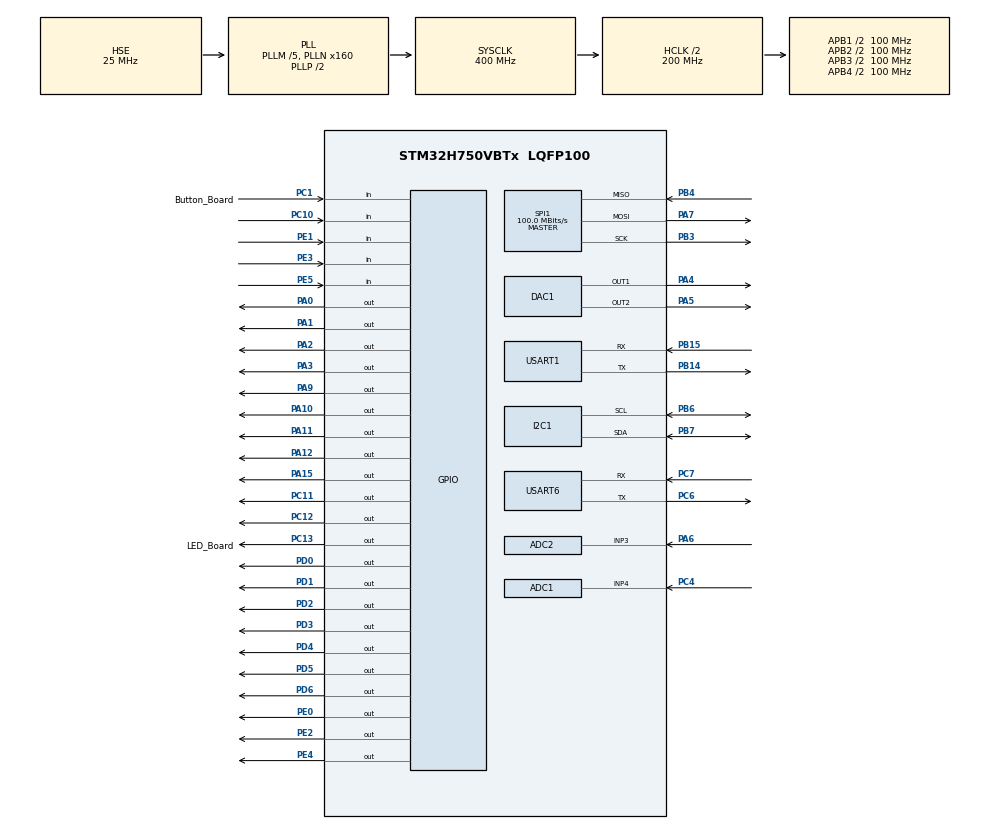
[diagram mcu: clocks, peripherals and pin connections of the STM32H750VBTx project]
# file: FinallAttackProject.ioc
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ADC1.Channel-0\#ChannelRegularConversion=ADC_CHANNEL_4
ADC1.ClockPrescaler=ADC_CLOCK_ASYNC_DIV1
ADC1.ContinuousConvMode=DISABLE
ADC1.ConversionDataManagement=ADC_CONVERSIONDATA_DMA_CIRCULAR
ADC1.DMAAccessModeView=ENABLE
ADC1.ExternalTrigConv=ADC_EXTERNALTRIG_T3_TRGO
ADC1.Mode=ADC_DUALMODE_REGSIMULT
ADC1.NbrOfConversionFlag=1
ADC1.OffsetNumber-0\#ChannelRegularConversion=ADC_OFFSET_NONE
ADC1.OffsetSignedSaturation-0\#ChannelRegularConversion=DISABLE
ADC1.Rank-0\#ChannelRegularConversion=1
ADC1.Resolution=ADC_RESOLUTION_14B
ADC1.SamplingTime-0\#ChannelRegularConversion=ADC_SAMPLETIME_1CYCLE_5
ADC1.master=1
ADC2.Channel-0\#ChannelRegularConversion=ADC_CHANNEL_3
ADC2.ConversionDataManagement=ADC_CONVERSIONDATA_DR
ADC2.DMAAccessModeView=ENABLE
ADC2.Mode=ADC_DUALMODE_REGSIMULT
ADC2.NbrOfConversionFlag=1
ADC2.OffsetNumber-0\#ChannelRegularConversion=ADC_OFFSET_NONE
ADC2.OffsetSignedSaturation-0\#ChannelRegularConversion=DISABLE
ADC2.Rank-0\#ChannelRegularConversion=1
ADC2.Resolution=ADC_RESOLUTION_14B
ADC2.SamplingTime-0\#ChannelRegularConversion=ADC_SAMPLETIME_1CYCLE_5
CORTEX_M7.CPU_DCache=Enabled
CORTEX_M7.default_mode_Activation=1
DAC1.DAC_Channel-DAC_OUT1=DAC_CHANNEL_1
DAC1.DAC_Channel-DAC_OUT2=DAC_CHANNEL_2
DAC1.DAC_Trigger-DAC_OUT1=DAC_TRIGGER_T4_TRGO
DAC1.DAC_Trigger-DAC_OUT2=DAC_TRIGGER_SOFTWARE
DAC1.DAC_UserTrimming-DAC_OUT2=DAC_TRIMMING_FACTORY
Dma.ADC1.0.Direction=DMA_PERIPH_TO_MEMORY
Dma.ADC1.0.EventEnable=DISABLE
Dma.ADC1.0.FIFOMode=DMA_FIFOMODE_DISABLE
Dma.ADC1.0.Instance=DMA1_Stream0
Dma.ADC1.0.MemDataAlignment=DMA_MDATAALIGN_WORD
Dma.ADC1.0.MemInc=DMA_MINC_ENABLE
Dma.ADC1.0.Mode=DMA_CIRCULAR
Dma.ADC1.0.PeriphDataAlignment=DMA_PDATAALIGN_WORD
Dma.ADC1.0.PeriphInc=DMA_PINC_DISABLE
Dma.ADC1.0.Polarity=HAL_DMAMUX_REQ_GEN_RISING
Dma.ADC1.0.Priority=DMA_PRIORITY_LOW
Dma.ADC1.0.RequestNumber=1
Dma.ADC1.0.SignalID=NONE
Dma.ADC1.0.SyncEnable=DISABLE
Dma.ADC1.0.SyncPolarity=HAL_DMAMUX_SYNC_NO_EVENT
Dma.ADC1.0.SyncRequestNumber=1
Dma.ADC1.0.SyncSignalID=NONE
Dma.DAC1_CH1.1.Direction=DMA_MEMORY_TO_PERIPH
Dma.DAC1_CH1.1.EventEnable=DISABLE
Dma.DAC1_CH1.1.FIFOMode=DMA_FIFOMODE_DISABLE
Dma.DAC1_CH1.1.Instance=DMA1_Stream1
Dma.DAC1_CH1.1.MemDataAlignment=DMA_MDATAALIGN_HALFWORD
Dma.DAC1_CH1.1.MemInc=DMA_MINC_ENABLE
Dma.DAC1_CH1.1.Mode=DMA_CIRCULAR
Dma.DAC1_CH1.1.PeriphDataAlignment=DMA_PDATAALIGN_HALFWORD
Dma.DAC1_CH1.1.PeriphInc=DMA_PINC_DISABLE
Dma.DAC1_CH1.1.Polarity=HAL_DMAMUX_REQ_GEN_RISING
Dma.DAC1_CH1.1.Priority=DMA_PRIORITY_HIGH
Dma.DAC1_CH1.1.RequestNumber=1
Dma.DAC1_CH1.1.SignalID=NONE
Dma.DAC1_CH1.1.SyncEnable=DISABLE
Dma.DAC1_CH1.1.SyncPolarity=HAL_DMAMUX_SYNC_NO_EVENT
Dma.DAC1_CH1.1.SyncRequestNumber=1
Dma.DAC1_CH1.1.SyncSignalID=NONE
Dma.Request0=ADC1
Dma.Request1=DAC1_CH1
FREERTOS.Tasks01=defaultTask,24,128,StartDefaultTask,Default,NULL,Dynamic,NULL,NULL
I2C1.Timing=0x10C0ECFF
Mcu.Family=STM32H7
Mcu.Name=STM32H750VBTx
Mcu.Package=LQFP100
NVIC.DMA1_Stream0_IRQn=true\:5\:0\:false\:false\:true\:true\:false\:true\:true
NVIC.DMA1_Stream1_IRQn=true\:5\:0\:false\:false\:true\:true\:false\:true\:true
NVIC.PriorityGroup=NVIC_PRIORITYGROUP_4
NVIC.TIM1_UP_IRQn=true\:15\:0\:false\:false\:true\:false\:false\:true\:true
NVIC.TIM6_DAC_IRQn=true\:5\:0\:false\:false\:true\:true\:true\:true\:true
NVIC.TimeBase=TIM1_UP_IRQn
NVIC.TimeBaseIP=TIM1
NVIC.USART1_IRQn=true\:5\:0\:false\:false\:true\:true\:true\:true\:true
NVIC.USART6_IRQn=true\:5\:0\:false\:false\:true\:true\:true\:true\:true
PA0.Signal=GPIO_Output
PA1.Signal=GPIO_Output
PA10.Signal=GPIO_Output
PA11.Signal=GPIO_Output
PA12.Signal=GPIO_Output
PA15\ (JTDI).Signal=GPIO_Output
PA2.Signal=GPIO_Output
PA3.Signal=GPIO_Output
PA4.Signal=COMP_DAC11_group
PA5.Signal=COMP_DAC12_group
PA6.Signal=ADCx_INP3
PA7.Mode=Full_Duplex_Master
PA7.Signal=SPI1_MOSI
PA9.Signal=GPIO_Output
PB14.Mode=Asynchronous
PB14.Signal=USART1_TX
PB15.Mode=Asynchronous
PB15.Signal=USART1_RX
PB3\ (JTDO/TRACESWO).Mode=Full_Duplex_Master
PB3\ (JTDO/TRACESWO).Signal=SPI1_SCK
PB4\ (NJTRST).Mode=Full_Duplex_Master
PB4\ (NJTRST).Signal=SPI1_MISO
PB6.Mode=I2C
PB6.Signal=I2C1_SCL
PB7.Mode=I2C
PB7.Signal=I2C1_SDA
PC1.GPIO_Label=Button_Board
PC1.GPIO_PuPd=GPIO_PULLUP
PC1.Signal=GPIO_Input
PC10.Signal=GPIO_Input
PC11.Signal=GPIO_Output
PC12.Signal=GPIO_Output
PC13.GPIO_Label=LED_Board
PC13.Signal=GPIO_Output
PC14-OSC32_IN\ (OSC32_IN).Mode=LSE-External-Oscillator
PC14-OSC32_IN\ (OSC32_IN).Signal=RCC_OSC32_IN
PC15-OSC32_OUT\ (OSC32_OUT).Mode=LSE-External-Oscillator
PC15-OSC32_OUT\ (OSC32_OUT).Signal=RCC_OSC32_OUT
PC4.Signal=ADCx_INP4
PC6.Mode=Asynchronous
PC6.Signal=USART6_TX
PC7.Mode=Asynchronous
PC7.Signal=USART6_RX
PD0.Signal=GPIO_Output
PD1.Signal=GPIO_Output
PD2.Signal=GPIO_Output
PD3.Signal=GPIO_Output
PD4.Signal=GPIO_Output
PD5.Signal=GPIO_Output
PD6.Signal=GPIO_Output
PE0.Signal=GPIO_Output
PE1.GPIO_PuPd=GPIO_PULLUP
PE1.Signal=GPIO_Input
PE2.Signal=GPIO_Output
PE3.GPIO_PuPd=GPIO_PULLUP
PE3.Signal=GPIO_Input
PE4.Signal=GPIO_Output
PE5.GPIO_PuPd=GPIO_PULLUP
PE5.Signal=GPIO_Input
PH0-OSC_IN\ (PH0).Mode=HSE-External-Oscillator
PH0-OSC_IN\ (PH0).Signal=RCC_OSC_IN
PH1-OSC_OUT\ (PH1).Mode=HSE-External-Oscillator
PH1-OSC_OUT\ (PH1).Signal=RCC_OSC_OUT
ProjectManager.HeapSize=0x200
ProjectManager.StackSize=0x400
ProjectManager.TargetToolchain=MDK-ARM V5.32
RCC.ADCFreq_Value=80000000
RCC.APB1Freq_Value=100000000
RCC.APB2Freq_Value=100000000
RCC.APB3Freq_Value=100000000
RCC.APB4Freq_Value=100000000
RCC.CortexFreq_Value=400000000
RCC.D1PPRE=RCC_APB3_DIV2
RCC.D2PPRE1=RCC_APB1_DIV2
RCC.D2PPRE2=RCC_APB2_DIV2
RCC.D3PPRE=RCC_APB4_DIV2
RCC.DIVM1=5
RCC.DIVM2=5
RCC.DIVM3=5
RCC.DIVN1=160
RCC.DIVN2=32
RCC.DIVN3=160
RCC.DIVP3=4
RCC.DIVQ1=4
RCC.DIVQ2=4
RCC.DIVQ3=4
RCC.HCLKFreq_Value=200000000
RCC.HPRE=RCC_HCLK_DIV2
RCC.PLL2FRACN=0
RCC.PLLFRACN=0
RCC.PLLSourceVirtual=RCC_PLLSOURCE_HSE
RCC.SPI123CLockSelection=RCC_SPI123CLKSOURCE_PLL3
RCC.SYSCLKFreq_VALUE=400000000
RCC.SYSCLKSource=RCC_SYSCLKSOURCE_PLLCLK
RCC.USBFreq_Value=200000000
SH.ADCx_INP3.0=ADC2_INP3,IN3-Single-Ended
SH.ADCx_INP4.0=ADC1_INP4,IN4-Single-Ended
SH.COMP_DAC11_group.0=DAC1_OUT1,DAC_OUT1
SH.COMP_DAC12_group.0=DAC1_OUT2,DAC_OUT2
SPI1.BaudRatePrescaler=SPI_BAUDRATEPRESCALER_2
SPI1.CalculateBaudRate=100.0 MBits/s
SPI1.Direction=SPI_DIRECTION_2LINES
SPI1.Mode=SPI_MODE_MASTER
SPI1.VirtualType=VM_MASTER
TIM3.AutoReloadPreload=TIM_AUTORELOAD_PRELOAD_ENABLE
TIM3.Period=488-1
TIM3.Prescaler=1-1
TIM3.TIM_MasterOutputTrigger=TIM_TRGO_UPDATE
TIM4.AutoReloadPreload=TIM_AUTORELOAD_PRELOAD_ENABLE
TIM4.Period=200
TIM4.Prescaler=1-1
TIM4.TIM_MasterOutputTrigger=TIM_TRGO_UPDATE
TIM6.AutoReloadPreload=TIM_AUTORELOAD_PRELOAD_ENABLE
TIM6.Period=20000
TIM6.Prescaler=2000
USART1.VirtualMode-Asynchronous=VM_ASYNC
USART6.VirtualMode=VM_ASYNC
VP_FREERTOS_VS_CMSIS_V2.Mode=CMSIS_V2
VP_MEMORYMAP_VS_MEMORYMAP.Mode=CurAppReg
VP_SYS_VS_tim1.Mode=TIM1
VP_TIM3_VS_ClockSourceINT.Mode=Internal
VP_TIM4_VS_ClockSourceINT.Mode=Internal
VP_TIM6_VS_ClockSourceINT.Mode=Enable_Timer
board=custom

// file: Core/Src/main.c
/* USER CODE BEGIN Header */
/**
  ******************************************************************************
  * @file           : main.c
  * @brief          : Main program body
  ******************************************************************************
  * @attention
  *
  * Copyright (c) 2025 STMicroelectronics.
  * All rights reserved.
  *
  * This software is licensed under terms that can be found in the LICENSE file
  * in the root directory of this software component.
  * If no LICENSE file comes with this software, it is provided AS-IS.
  *
  ******************************************************************************
  */
/* USER CODE END Header */
#include "main.h"
#include "cmsis_os.h"

/* USER CODE BEGIN Includes */
#include "stdio.h"
#include "math.h"

#include "AD9954.h"
#include "INA226.h"
#include "arm_math.h"
#include "my_uart_task.h"
#include "my_adc_task.h"
#include "my_zlcr_config.h"
#include "my_button_task.h"
#include "my_parser.h"

/* USER CODE END Includes */

ADC_HandleTypeDef hadc1;
ADC_HandleTypeDef hadc2;
DMA_HandleTypeDef hdma_adc1;

DAC_HandleTypeDef hdac1;
DMA_HandleTypeDef hdma_dac1_ch1;

I2C_HandleTypeDef hi2c1;

SPI_HandleTypeDef hspi1;

TIM_HandleTypeDef htim3;
TIM_HandleTypeDef htim4;
TIM_HandleTypeDef htim6;

UART_HandleTypeDef huart1;
UART_HandleTypeDef huart6;

/* Definitions for defaultTask */
osThreadId_t defaultTaskHandle;
const osThreadAttr_t defaultTask_attributes = {
  .name = "defaultTask",
  .stack_size = 128 * 4,
  .priority = (osPriority_t) osPriorityNormal,
};
/* USER CODE BEGIN PV */
osThreadId_t ADCProcessingTaskHandle;
const osThreadAttr_t ADCProcessingTask_attributes = {
  .name = "ADCProcessingTask",
  .stack_size = 128 * 16,
  .priority = (osPriority_t) osPriorityHigh,
};

osThreadId_t UARTProcessingTaskHandle;
const osThreadAttr_t UARTProcessingTask_attributes = {
  .name = "UARTProcessingTask",
  .stack_size = 128 * 8,
  .priority = (osPriority_t) osPriorityNormal,
};

osThreadId_t ButtonProcessingTaskHandle;
const osThreadAttr_t ButtonProcessingTask_attributes = {
  .name = "ButtonProcessingTask",
  .stack_size = 128 * 8,
  .priority = (osPriority_t) osPriorityNormal,
};

osThreadId_t myParserTaskHandle;
const osThreadAttr_t myParserTask_attributes = {
  .name = "myParserTask",
  .stack_size = 128 * 8,
  .priority = (osPriority_t) osPriorityHigh,
};

/* USER CODE END PV */

void SystemClock_Config(void);
void PeriphCommonClock_Config(void);
static void MPU_Config(void);
static void MX_GPIO_Init(void);
static void MX_DMA_Init(void);
static void MX_ADC1_Init(void);
static void MX_I2C1_Init(void);
static void MX_USART1_UART_Init(void);
static void MX_SPI1_Init(void);
static void MX_ADC2_Init(void);
static void MX_TIM3_Init(void);
static void MX_DAC1_Init(void);
static void MX_TIM4_Init(void);
static void MX_USART6_UART_Init(void);
static void MX_TIM6_Init(void);
void StartDefaultTask(void *argument);

/* USER CODE BEGIN PFP */
void StartADCProcessingTask(void *argument);
void StartDACProcessingTask(void *argument);
/* USER CODE END PFP */

/* USER CODE BEGIN 0 */

int fputc(int ch, FILE *f)
{
  HAL_UART_Transmit(&huart1, (uint8_t *)&ch, 1, 0xffff);
  return ch;
}
int fgetc(FILE * f)
{
  uint8_t ch = 0;
  HAL_UART_Receive(&huart1,&ch, 1, 0xffff);
  return ch;
}

/* USER CODE END 0 */

int main(void)
{

  /* MPU Configuration--------------------------------------------------------*/
  MPU_Config();

  /* Enable D-Cache---------------------------------------------------------*/
  SCB_EnableDCache();

  /* MCU Configuration--------------------------------------------------------*/

  /* Reset of all peripherals, Initializes the Flash interface and the Systick. */
  HAL_Init();

  /* Configure the system clock */
  SystemClock_Config();

  /* Configure the peripherals common clocks */
  PeriphCommonClock_Config();

  /* Initialize all configured peripherals */
  MX_GPIO_Init();
  MX_DMA_Init();
  MX_ADC1_Init();
  MX_I2C1_Init();
  MX_USART1_UART_Init();
  MX_SPI1_Init();
  MX_ADC2_Init();
  MX_TIM3_Init();
  MX_DAC1_Init();
  MX_TIM4_Init();
  MX_USART6_UART_Init();
  MX_TIM6_Init();

  /* Init scheduler */
  osKernelInitialize();

  /* Create the thread(s) */
  /* creation of defaultTask */
  defaultTaskHandle = osThreadNew(StartDefaultTask, NULL, &defaultTask_attributes);

  /* USER CODE BEGIN RTOS_THREADS */
  /* add threads, ... */
  ADCProcessingTaskHandle = osThreadNew(StartADCProcessingTask, NULL, &ADCProcessingTask_attributes);

  UARTProcessingTaskHandle = osThreadNew(StartUARTProcessingTask, NULL, &UARTProcessingTask_attributes);
  // ButtonProcessingTaskHandle = osThreadNew(StartButtonProcessingTask, NULL, &ButtonProcessingTask_attributes);
  myParserTaskHandle = osThreadNew(myParserTask, NULL, &myParserTask_attributes);
  /* USER CODE END RTOS_THREADS */

  /* Start scheduler */
  osKernelStart();

  /* We should never get here as control is now taken by the scheduler */

  /* Infinite loop */
  while (1)
  {

  }
}

void SystemClock_Config(void)
{
  RCC_OscInitTypeDef RCC_OscInitStruct = {0};
  RCC_ClkInitTypeDef RCC_ClkInitStruct = {0};

  /** Supply configuration update enable
  */
  HAL_PWREx_ConfigSupply(PWR_LDO_SUPPLY);

  /** Configure the main internal regulator output voltage
  */
  __HAL_PWR_VOLTAGESCALING_CONFIG(PWR_REGULATOR_VOLTAGE_SCALE1);

  while(!__HAL_PWR_GET_FLAG(PWR_FLAG_VOSRDY)) {}

  /** Initializes the RCC Oscillators according to the specified parameters
  * in the RCC_OscInitTypeDef structure.
  */
  RCC_OscInitStruct.OscillatorType = RCC_OSCILLATORTYPE_HSE;
  RCC_OscInitStruct.HSEState = RCC_HSE_ON;
  RCC_OscInitStruct.PLL.PLLState = RCC_PLL_ON;
  RCC_OscInitStruct.PLL.PLLSource = RCC_PLLSOURCE_HSE;
  RCC_OscInitStruct.PLL.PLLM = 5;
  RCC_OscInitStruct.PLL.PLLN = 160;
  RCC_OscInitStruct.PLL.PLLP = 2;
  RCC_OscInitStruct.PLL.PLLQ = 4;
  RCC_OscInitStruct.PLL.PLLR = 2;
  RCC_OscInitStruct.PLL.PLLRGE = RCC_PLL1VCIRANGE_2;
  RCC_OscInitStruct.PLL.PLLVCOSEL = RCC_PLL1VCOWIDE;
  RCC_OscInitStruct.PLL.PLLFRACN = 0;
  if (HAL_RCC_OscConfig(&RCC_OscInitStruct) != HAL_OK)
  {
    Error_Handler();
  }

  /** Initializes the CPU, AHB and APB buses clocks
  */
  RCC_ClkInitStruct.ClockType = RCC_CLOCKTYPE_HCLK|RCC_CLOCKTYPE_SYSCLK
                              |RCC_CLOCKTYPE_PCLK1|RCC_CLOCKTYPE_PCLK2
                              |RCC_CLOCKTYPE_D3PCLK1|RCC_CLOCKTYPE_D1PCLK1;
  RCC_ClkInitStruct.SYSCLKSource = RCC_SYSCLKSOURCE_PLLCLK;
  RCC_ClkInitStruct.SYSCLKDivider = RCC_SYSCLK_DIV1;
  RCC_ClkInitStruct.AHBCLKDivider = RCC_HCLK_DIV2;
  RCC_ClkInitStruct.APB3CLKDivider = RCC_APB3_DIV2;
  RCC_ClkInitStruct.APB1CLKDivider = RCC_APB1_DIV2;
  RCC_ClkInitStruct.APB2CLKDivider = RCC_APB2_DIV2;
  RCC_ClkInitStruct.APB4CLKDivider = RCC_APB4_DIV2;

  if (HAL_RCC_ClockConfig(&RCC_ClkInitStruct, FLASH_LATENCY_2) != HAL_OK)
  {
    Error_Handler();
  }
}

void PeriphCommonClock_Config(void)
{
  RCC_PeriphCLKInitTypeDef PeriphClkInitStruct = {0};

  /** Initializes the peripherals clock
  */
  PeriphClkInitStruct.PeriphClockSelection = RCC_PERIPHCLK_ADC;
  PeriphClkInitStruct.PLL2.PLL2M = 5;
  PeriphClkInitStruct.PLL2.PLL2N = 32;
  PeriphClkInitStruct.PLL2.PLL2P = 2;
  PeriphClkInitStruct.PLL2.PLL2Q = 4;
  PeriphClkInitStruct.PLL2.PLL2R = 2;
  PeriphClkInitStruct.PLL2.PLL2RGE = RCC_PLL2VCIRANGE_2;
  PeriphClkInitStruct.PLL2.PLL2VCOSEL = RCC_PLL2VCOMEDIUM;
  PeriphClkInitStruct.PLL2.PLL2FRACN = 0;
  PeriphClkInitStruct.AdcClockSelection = RCC_ADCCLKSOURCE_PLL2;
  if (HAL_RCCEx_PeriphCLKConfig(&PeriphClkInitStruct) != HAL_OK)
  {
    Error_Handler();
  }
}

static void MX_ADC1_Init(void)
{

  ADC_MultiModeTypeDef multimode = {0};
  ADC_ChannelConfTypeDef sConfig = {0};

  /** Common config
  */
  hadc1.Instance = ADC1;
  hadc1.Init.ScanConvMode = ADC_SCAN_DISABLE;
  hadc1.Init.EOCSelection = ADC_EOC_SINGLE_CONV;
  hadc1.Init.LowPowerAutoWait = DISABLE;
  hadc1.Init.ContinuousConvMode = DISABLE;
  hadc1.Init.NbrOfConversion = 1;
  hadc1.Init.DiscontinuousConvMode = DISABLE;
  hadc1.Init.ExternalTrigConv = ADC_EXTERNALTRIG_T3_TRGO;
  hadc1.Init.ExternalTrigConvEdge = ADC_EXTERNALTRIGCONVEDGE_RISING;
  hadc1.Init.ConversionDataManagement = ADC_CONVERSIONDATA_DMA_CIRCULAR;
  hadc1.Init.Overrun = ADC_OVR_DATA_PRESERVED;
  hadc1.Init.LeftBitShift = ADC_LEFTBITSHIFT_NONE;
  hadc1.Init.OversamplingMode = DISABLE;
  hadc1.Init.Oversampling.Ratio = 1;
  if (HAL_ADC_Init(&hadc1) != HAL_OK)
  {
    Error_Handler();
  }
  hadc1.Init.ClockPrescaler = ADC_CLOCK_ASYNC_DIV1;
  hadc1.Init.Resolution = ADC_RESOLUTION_14B;
  if (HAL_ADC_Init(&hadc1) != HAL_OK)
  {
    Error_Handler();
  }

  /** Configure the ADC multi-mode
  */
  multimode.Mode = ADC_DUALMODE_REGSIMULT;
  multimode.DualModeData = ADC_DUALMODEDATAFORMAT_32_10_BITS;
  multimode.TwoSamplingDelay = ADC_TWOSAMPLINGDELAY_1CYCLE;
  if (HAL_ADCEx_MultiModeConfigChannel(&hadc1, &multimode) != HAL_OK)
  {
    Error_Handler();
  }

  /** Configure Regular Channel
  */
  sConfig.Channel = ADC_CHANNEL_4;
  sConfig.Rank = ADC_REGULAR_RANK_1;
  sConfig.SamplingTime = ADC_SAMPLETIME_1CYCLE_5;
  sConfig.SingleDiff = ADC_SINGLE_ENDED;
  sConfig.OffsetNumber = ADC_OFFSET_NONE;
  sConfig.Offset = 0;
  sConfig.OffsetSignedSaturation = DISABLE;
  if (HAL_ADC_ConfigChannel(&hadc1, &sConfig) != HAL_OK)
  {
    Error_Handler();
  }

}

static void MX_ADC2_Init(void)
{

  ADC_ChannelConfTypeDef sConfig = {0};

  /** Common config
  */
  hadc2.Instance = ADC2;
  hadc2.Init.ScanConvMode = ADC_SCAN_DISABLE;
  hadc2.Init.EOCSelection = ADC_EOC_SINGLE_CONV;
  hadc2.Init.LowPowerAutoWait = DISABLE;
  hadc2.Init.ContinuousConvMode = DISABLE;
  hadc2.Init.NbrOfConversion = 1;
  hadc2.Init.DiscontinuousConvMode = DISABLE;
  hadc2.Init.ConversionDataManagement = ADC_CONVERSIONDATA_DR;
  hadc2.Init.Overrun = ADC_OVR_DATA_PRESERVED;
  hadc2.Init.LeftBitShift = ADC_LEFTBITSHIFT_NONE;
  hadc2.Init.OversamplingMode = DISABLE;
  hadc2.Init.Oversampling.Ratio = 1;
  if (HAL_ADC_Init(&hadc2) != HAL_OK)
  {
    Error_Handler();
  }
  hadc2.Init.ClockPrescaler = ADC_CLOCK_ASYNC_DIV1;
  hadc2.Init.Resolution = ADC_RESOLUTION_14B;
  if (HAL_ADC_Init(&hadc2) != HAL_OK)
  {
    Error_Handler();
  }

  /** Configure Regular Channel
  */
  sConfig.Channel = ADC_CHANNEL_3;
  sConfig.Rank = ADC_REGULAR_RANK_1;
  sConfig.SamplingTime = ADC_SAMPLETIME_1CYCLE_5;
  sConfig.SingleDiff = ADC_SINGLE_ENDED;
  sConfig.OffsetNumber = ADC_OFFSET_NONE;
  sConfig.Offset = 0;
  sConfig.OffsetSignedSaturation = DISABLE;
  if (HAL_ADC_ConfigChannel(&hadc2, &sConfig) != HAL_OK)
  {
    Error_Handler();
  }

}

static void MX_DAC1_Init(void)
{

  DAC_ChannelConfTypeDef sConfig = {0};

  /** DAC Initialization
  */
  hdac1.Instance = DAC1;
  if (HAL_DAC_Init(&hdac1) != HAL_OK)
  {
    Error_Handler();
  }

  /** DAC channel OUT1 config
  */
  sConfig.DAC_SampleAndHold = DAC_SAMPLEANDHOLD_DISABLE;
  sConfig.DAC_Trigger = DAC_TRIGGER_T4_TRGO;
  sConfig.DAC_OutputBuffer = DAC_OUTPUTBUFFER_ENABLE;
  sConfig.DAC_ConnectOnChipPeripheral = DAC_CHIPCONNECT_DISABLE;
  sConfig.DAC_UserTrimming = DAC_TRIMMING_FACTORY;
  if (HAL_DAC_ConfigChannel(&hdac1, &sConfig, DAC_CHANNEL_1) != HAL_OK)
  {
    Error_Handler();
  }

  /** DAC channel OUT2 config
  */
  sConfig.DAC_Trigger = DAC_TRIGGER_SOFTWARE;
  if (HAL_DAC_ConfigChannel(&hdac1, &sConfig, DAC_CHANNEL_2) != HAL_OK)
  {
    Error_Handler();
  }

}

static void MX_I2C1_Init(void)
{

  hi2c1.Instance = I2C1;
  hi2c1.Init.Timing = 0x10C0ECFF;
  hi2c1.Init.OwnAddress1 = 0;
  hi2c1.Init.AddressingMode = I2C_ADDRESSINGMODE_7BIT;
  hi2c1.Init.DualAddressMode = I2C_DUALADDRESS_DISABLE;
  hi2c1.Init.OwnAddress2 = 0;
  hi2c1.Init.OwnAddress2Masks = I2C_OA2_NOMASK;
  hi2c1.Init.GeneralCallMode = I2C_GENERALCALL_DISABLE;
  hi2c1.Init.NoStretchMode = I2C_NOSTRETCH_DISABLE;
  if (HAL_I2C_Init(&hi2c1) != HAL_OK)
  {
    Error_Handler();
  }

  /** Configure Analogue filter
  */
  if (HAL_I2CEx_ConfigAnalogFilter(&hi2c1, I2C_ANALOGFILTER_ENABLE) != HAL_OK)
  {
    Error_Handler();
  }

  /** Configure Digital filter
  */
  if (HAL_I2CEx_ConfigDigitalFilter(&hi2c1, 0) != HAL_OK)
  {
    Error_Handler();
  }

}

static void MX_SPI1_Init(void)
{

  /* SPI1 parameter configuration*/
  hspi1.Instance = SPI1;
  hspi1.Init.Mode = SPI_MODE_MASTER;
  hspi1.Init.Direction = SPI_DIRECTION_2LINES;
  hspi1.Init.DataSize = SPI_DATASIZE_4BIT;
  hspi1.Init.CLKPolarity = SPI_POLARITY_LOW;
  hspi1.Init.CLKPhase = SPI_PHASE_1EDGE;
  hspi1.Init.NSS = SPI_NSS_SOFT;
  hspi1.Init.BaudRatePrescaler = SPI_BAUDRATEPRESCALER_2;
  hspi1.Init.FirstBit = SPI_FIRSTBIT_MSB;
  hspi1.Init.TIMode = SPI_TIMODE_DISABLE;
  hspi1.Init.CRCCalculation = SPI_CRCCALCULATION_DISABLE;
  hspi1.Init.CRCPolynomial = 0x0;
  hspi1.Init.NSSPMode = SPI_NSS_PULSE_ENABLE;
  hspi1.Init.NSSPolarity = SPI_NSS_POLARITY_LOW;
  hspi1.Init.FifoThreshold = SPI_FIFO_THRESHOLD_01DATA;
  hspi1.Init.TxCRCInitializationPattern = SPI_CRC_INITIALIZATION_ALL_ZERO_PATTERN;
  hspi1.Init.RxCRCInitializationPattern = SPI_CRC_INITIALIZATION_ALL_ZERO_PATTERN;
  hspi1.Init.MasterSSIdleness = SPI_MASTER_SS_IDLENESS_00CYCLE;
  hspi1.Init.MasterInterDataIdleness = SPI_MASTER_INTERDATA_IDLENESS_00CYCLE;
  hspi1.Init.MasterReceiverAutoSusp = SPI_MASTER_RX_AUTOSUSP_DISABLE;
  hspi1.Init.MasterKeepIOState = SPI_MASTER_KEEP_IO_STATE_DISABLE;
  hspi1.Init.IOSwap = SPI_IO_SWAP_DISABLE;
  if (HAL_SPI_Init(&hspi1) != HAL_OK)
  {
    Error_Handler();
  }

}

static void MX_TIM3_Init(void)
{

  TIM_ClockConfigTypeDef sClockSourceConfig = {0};
  TIM_MasterConfigTypeDef sMasterConfig = {0};

  htim3.Instance = TIM3;
  htim3.Init.Prescaler = 1-1;
  htim3.Init.CounterMode = TIM_COUNTERMODE_UP;
  htim3.Init.Period = 488-1;
  htim3.Init.ClockDivision = TIM_CLOCKDIVISION_DIV1;
  htim3.Init.AutoReloadPreload = TIM_AUTORELOAD_PRELOAD_ENABLE;
  if (HAL_TIM_Base_Init(&htim3) != HAL_OK)
  {
    Error_Handler();
  }
  sClockSourceConfig.ClockSource = TIM_CLOCKSOURCE_INTERNAL;
  if (HAL_TIM_ConfigClockSource(&htim3, &sClockSourceConfig) != HAL_OK)
  {
    Error_Handler();
  }
  sMasterConfig.MasterOutputTrigger = TIM_TRGO_UPDATE;
  sMasterConfig.MasterSlaveMode = TIM_MASTERSLAVEMODE_DISABLE;
  if (HAL_TIMEx_MasterConfigSynchronization(&htim3, &sMasterConfig) != HAL_OK)
  {
    Error_Handler();
  }

}

static void MX_TIM4_Init(void)
{

  TIM_ClockConfigTypeDef sClockSourceConfig = {0};
  TIM_MasterConfigTypeDef sMasterConfig = {0};

  htim4.Instance = TIM4;
  htim4.Init.Prescaler = 1-1;
  htim4.Init.CounterMode = TIM_COUNTERMODE_UP;
  htim4.Init.Period = 200;
  htim4.Init.ClockDivision = TIM_CLOCKDIVISION_DIV1;
  htim4.Init.AutoReloadPreload = TIM_AUTORELOAD_PRELOAD_ENABLE;
  if (HAL_TIM_Base_Init(&htim4) != HAL_OK)
  {
    Error_Handler();
  }
  sClockSourceConfig.ClockSource = TIM_CLOCKSOURCE_INTERNAL;
  if (HAL_TIM_ConfigClockSource(&htim4, &sClockSourceConfig) != HAL_OK)
  {
    Error_Handler();
  }
  sMasterConfig.MasterOutputTrigger = TIM_TRGO_UPDATE;
  sMasterConfig.MasterSlaveMode = TIM_MASTERSLAVEMODE_DISABLE;
  if (HAL_TIMEx_MasterConfigSynchronization(&htim4, &sMasterConfig) != HAL_OK)
  {
    Error_Handler();
  }

}

static void MX_TIM6_Init(void)
{

  TIM_MasterConfigTypeDef sMasterConfig = {0};

  htim6.Instance = TIM6;
  htim6.Init.Prescaler = 2000;
  htim6.Init.CounterMode = TIM_COUNTERMODE_UP;
  htim6.Init.Period = 20000;
  htim6.Init.AutoReloadPreload = TIM_AUTORELOAD_PRELOAD_ENABLE;
  if (HAL_TIM_Base_Init(&htim6) != HAL_OK)
  {
    Error_Handler();
  }
  sMasterConfig.MasterOutputTrigger = TIM_TRGO_RESET;
  sMasterConfig.MasterSlaveMode = TIM_MASTERSLAVEMODE_DISABLE;
  if (HAL_TIMEx_MasterConfigSynchronization(&htim6, &sMasterConfig) != HAL_OK)
  {
    Error_Handler();
  }

}

static void MX_USART1_UART_Init(void)
{

  huart1.Instance = USART1;
  huart1.Init.BaudRate = 115200;
  huart1.Init.WordLength = UART_WORDLENGTH_8B;
  huart1.Init.StopBits = UART_STOPBITS_1;
  huart1.Init.Parity = UART_PARITY_NONE;
  huart1.Init.Mode = UART_MODE_TX_RX;
  huart1.Init.HwFlowCtl = UART_HWCONTROL_NONE;
  huart1.Init.OverSampling = UART_OVERSAMPLING_16;
  huart1.Init.OneBitSampling = UART_ONE_BIT_SAMPLE_DISABLE;
  huart1.Init.ClockPrescaler = UART_PRESCALER_DIV1;
  huart1.AdvancedInit.AdvFeatureInit = UART_ADVFEATURE_NO_INIT;
  if (HAL_UART_Init(&huart1) != HAL_OK)
  {
    Error_Handler();
  }
  if (HAL_UARTEx_SetTxFifoThreshold(&huart1, UART_TXFIFO_THRESHOLD_1_8) != HAL_OK)
  {
    Error_Handler();
  }
  if (HAL_UARTEx_SetRxFifoThreshold(&huart1, UART_RXFIFO_THRESHOLD_1_8) != HAL_OK)
  {
    Error_Handler();
  }
  if (HAL_UARTEx_DisableFifoMode(&huart1) != HAL_OK)
  {
    Error_Handler();
  }

}

static void MX_USART6_UART_Init(void)
{

  huart6.Instance = USART6;
  huart6.Init.BaudRate = 115200;
  huart6.Init.WordLength = UART_WORDLENGTH_8B;
  huart6.Init.StopBits = UART_STOPBITS_1;
  huart6.Init.Parity = UART_PARITY_NONE;
  huart6.Init.Mode = UART_MODE_TX_RX;
  huart6.Init.HwFlowCtl = UART_HWCONTROL_NONE;
  huart6.Init.OverSampling = UART_OVERSAMPLING_16;
  huart6.Init.OneBitSampling = UART_ONE_BIT_SAMPLE_DISABLE;
  huart6.Init.ClockPrescaler = UART_PRESCALER_DIV1;
  huart6.AdvancedInit.AdvFeatureInit = UART_ADVFEATURE_NO_INIT;
  if (HAL_UART_Init(&huart6) != HAL_OK)
  {
    Error_Handler();
  }
  if (HAL_UARTEx_SetTxFifoThreshold(&huart6, UART_TXFIFO_THRESHOLD_1_8) != HAL_OK)
  {
    Error_Handler();
  }
  if (HAL_UARTEx_SetRxFifoThreshold(&huart6, UART_RXFIFO_THRESHOLD_1_8) != HAL_OK)
  {
    Error_Handler();
  }
  if (HAL_UARTEx_DisableFifoMode(&huart6) != HAL_OK)
  {
    Error_Handler();
  }

}

static void MX_DMA_Init(void)
{

  /* DMA controller clock enable */
  __HAL_RCC_DMA1_CLK_ENABLE();

  /* DMA interrupt init */
  /* DMA1_Stream0_IRQn interrupt configuration */
  HAL_NVIC_SetPriority(DMA1_Stream0_IRQn, 5, 0);
  HAL_NVIC_EnableIRQ(DMA1_Stream0_IRQn);
  /* DMA1_Stream1_IRQn interrupt configuration */
  HAL_NVIC_SetPriority(DMA1_Stream1_IRQn, 5, 0);
  HAL_NVIC_EnableIRQ(DMA1_Stream1_IRQn);

}

static void MX_GPIO_Init(void)
{
  GPIO_InitTypeDef GPIO_InitStruct = {0};

  /* GPIO Ports Clock Enable */
  __HAL_RCC_GPIOE_CLK_ENABLE();
  __HAL_RCC_GPIOC_CLK_ENABLE();
  __HAL_RCC_GPIOH_CLK_ENABLE();
  __HAL_RCC_GPIOA_CLK_ENABLE();
  __HAL_RCC_GPIOB_CLK_ENABLE();
  __HAL_RCC_GPIOD_CLK_ENABLE();

  /*Configure GPIO pin Output Level */
  HAL_GPIO_WritePin(GPIOE, GPIO_PIN_2|GPIO_PIN_4|GPIO_PIN_0, GPIO_PIN_RESET);

  /*Configure GPIO pin Output Level */
  HAL_GPIO_WritePin(GPIOC, LED_Board_Pin|GPIO_PIN_11|GPIO_PIN_12, GPIO_PIN_RESET);

  /*Configure GPIO pin Output Level */
  HAL_GPIO_WritePin(GPIOA, GPIO_PIN_0|GPIO_PIN_1|GPIO_PIN_2|GPIO_PIN_3
                          |GPIO_PIN_9|GPIO_PIN_10|GPIO_PIN_11|GPIO_PIN_12
                          |GPIO_PIN_15, GPIO_PIN_RESET);

  /*Configure GPIO pin Output Level */
  HAL_GPIO_WritePin(GPIOD, GPIO_PIN_0|GPIO_PIN_1|GPIO_PIN_2|GPIO_PIN_3
                          |GPIO_PIN_4|GPIO_PIN_5|GPIO_PIN_6, GPIO_PIN_RESET);

  /*Configure GPIO pins : PE2 PE4 PE0 */
  GPIO_InitStruct.Pin = GPIO_PIN_2|GPIO_PIN_4|GPIO_PIN_0;
  GPIO_InitStruct.Mode = GPIO_MODE_OUTPUT_PP;
  GPIO_InitStruct.Pull = GPIO_NOPULL;
  GPIO_InitStruct.Speed = GPIO_SPEED_FREQ_LOW;
  HAL_GPIO_Init(GPIOE, &GPIO_InitStruct);

  /*Configure GPIO pins : PE3 PE5 PE1 */
  GPIO_InitStruct.Pin = GPIO_PIN_3|GPIO_PIN_5|GPIO_PIN_1;
  GPIO_InitStruct.Mode = GPIO_MODE_INPUT;
  GPIO_InitStruct.Pull = GPIO_PULLUP;
  HAL_GPIO_Init(GPIOE, &GPIO_InitStruct);

  /*Configure GPIO pins : LED_Board_Pin PC11 PC12 */
  GPIO_InitStruct.Pin = LED_Board_Pin|GPIO_PIN_11|GPIO_PIN_12;
  GPIO_InitStruct.Mode = GPIO_MODE_OUTPUT_PP;
  GPIO_InitStruct.Pull = GPIO_NOPULL;
  GPIO_InitStruct.Speed = GPIO_SPEED_FREQ_LOW;
  HAL_GPIO_Init(GPIOC, &GPIO_InitStruct);

  /*Configure GPIO pin : Button_Board_Pin */
  GPIO_InitStruct.Pin = Button_Board_Pin;
  GPIO_InitStruct.Mode = GPIO_MODE_INPUT;
  GPIO_InitStruct.Pull = GPIO_PULLUP;
  HAL_GPIO_Init(Button_Board_GPIO_Port, &GPIO_InitStruct);

  /*Configure GPIO pins : PA0 PA1 PA2 PA3
                           PA9 PA10 PA11 PA12
                           PA15 */
  GPIO_InitStruct.Pin = GPIO_PIN_0|GPIO_PIN_1|GPIO_PIN_2|GPIO_PIN_3
                          |GPIO_PIN_9|GPIO_PIN_10|GPIO_PIN_11|GPIO_PIN_12
                          |GPIO_PIN_15;
  GPIO_InitStruct.Mode = GPIO_MODE_OUTPUT_PP;
  GPIO_InitStruct.Pull = GPIO_NOPULL;
  GPIO_InitStruct.Speed = GPIO_SPEED_FREQ_LOW;
  HAL_GPIO_Init(GPIOA, &GPIO_InitStruct);

  /*Configure GPIO pin : PC10 */
  GPIO_InitStruct.Pin = GPIO_PIN_10;
  GPIO_InitStruct.Mode = GPIO_MODE_INPUT;
  GPIO_InitStruct.Pull = GPIO_NOPULL;
  HAL_GPIO_Init(GPIOC, &GPIO_InitStruct);

  /*Configure GPIO pins : PD0 PD1 PD2 PD3
                           PD4 PD5 PD6 */
  GPIO_InitStruct.Pin = GPIO_PIN_0|GPIO_PIN_1|GPIO_PIN_2|GPIO_PIN_3
                          |GPIO_PIN_4|GPIO_PIN_5|GPIO_PIN_6;
  GPIO_InitStruct.Mode = GPIO_MODE_OUTPUT_PP;
  GPIO_InitStruct.Pull = GPIO_NOPULL;
  GPIO_InitStruct.Speed = GPIO_SPEED_FREQ_LOW;
  HAL_GPIO_Init(GPIOD, &GPIO_InitStruct);

}

/* USER CODE BEGIN 4 */
/* ADC采样与频域处睆相关函数已违移到adc_processing.c */
/* USER CODE END 4 */

void StartDefaultTask(void *argument)
{
  /* USER CODE BEGIN 5 */

  /* Infinite loop */
  for(;;)
  {

    osDelay(1);  /* Small delay to prevent CPU hogging */
  }
  /* USER CODE END 5 */
}

 /* MPU Configuration */

void MPU_Config(void)
{
  MPU_Region_InitTypeDef MPU_InitStruct = {0};

  /* Disables the MPU */
  HAL_MPU_Disable();

  /** Initializes and configures the Region and the memory to be protected
  */
  MPU_InitStruct.Enable = MPU_REGION_ENABLE;
  MPU_InitStruct.Number = MPU_REGION_NUMBER0;
  MPU_InitStruct.BaseAddress = 0x0;
  MPU_InitStruct.Size = MPU_REGION_SIZE_4GB;
  MPU_InitStruct.SubRegionDisable = 0x87;
  MPU_InitStruct.TypeExtField = MPU_TEX_LEVEL0;
  MPU_InitStruct.AccessPermission = MPU_REGION_NO_ACCESS;
  MPU_InitStruct.DisableExec = MPU_INSTRUCTION_ACCESS_DISABLE;
  MPU_InitStruct.IsShareable = MPU_ACCESS_SHAREABLE;
  MPU_InitStruct.IsCacheable = MPU_ACCESS_NOT_CACHEABLE;
  MPU_InitStruct.IsBufferable = MPU_ACCESS_NOT_BUFFERABLE;

  HAL_MPU_ConfigRegion(&MPU_InitStruct);
  /* Enables the MPU */
  HAL_MPU_Enable(MPU_PRIVILEGED_DEFAULT);

}

void HAL_TIM_PeriodElapsedCallback(TIM_HandleTypeDef *htim)
{
  if (htim->Instance == TIM1) {
    HAL_IncTick();
  }
  /* USER CODE BEGIN Callback 1 */
  // 引用外部变量
  extern uint8_t g_signal_reconstruction_trigger;
  extern uint8_t g_signal_reconstruction_active;
  extern uint8_t g_timer6_enabled;

  if (htim->Instance == TIM6) {
    // 只有当信号重建模式激活且Timer6使能时才触发
    if (g_signal_reconstruction_active && g_timer6_enabled) {
      g_signal_reconstruction_trigger = 1;  // 设置触发标志�?
    }
  }
  /* USER CODE END Callback 1 */
}

void Error_Handler(void)
{
  __disable_irq();
  while (1)
  {
  }
}
